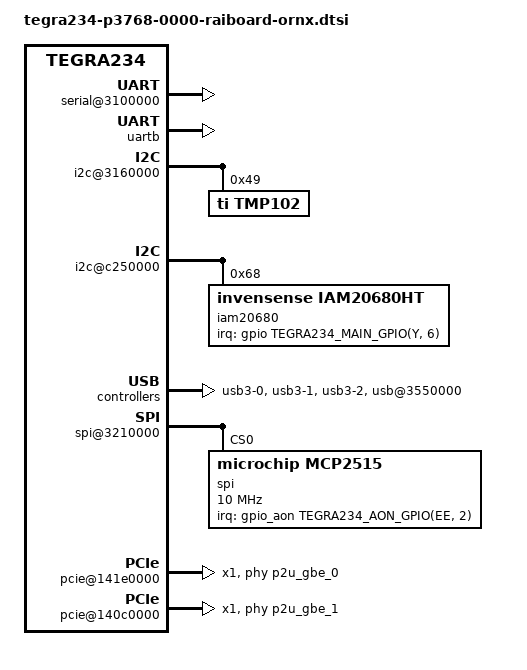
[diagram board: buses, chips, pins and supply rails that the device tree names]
// SPDX-License-Identifier: GPL-2.0-only
// SPDX-FileCopyrightText: Copyright (c) 2023-2024, NVIDIA CORPORATION & AFFILIATES.  All rights reserved.

#define CAMERA_I2C_MUX_BUS(x) (0x1E + x)

/ {
	aliases {
		serial3 = &uartb;
	};

	bus@0 {
		serial@3100000 { // UART1 (uarta) Channel-1
			status = "okay";
		};

		uartb: serial@3110000 { // UART0 (uartb) Channel-0
			status = "okay";
			compatible = "nvidia,tegra194-hsuart";
			reset-names = "serial";
		};

		i2c@3160000 {
			tmp102: tmp102@49 { // Temperature Sensor
				status = "okay";
				compatible = "ti,tmp102";
				reg = <0x49>;
				#thermal-sensor-cells = <0>;
			};
		};

		i2c@c250000 {
			iam20680@68 {
				compatible = "invensense,iam20680ht";
				reg = <0x68>;
				interrupt-parent = <&gpio>;
				interrupts = <TEGRA234_MAIN_GPIO(Y, 6) IRQ_TYPE_LEVEL_LOW>; //Unused pin
			};
		};

		padctl@3520000 {
			ports {
				usb3-0 {
					nvidia,usb2-companion = <1>;
					status = "okay";
				};
				usb3-1 {
					nvidia,usb2-companion = <0>;
					status = "okay";
				};
				usb3-2 {
					//nvidia,usb2-companion = <2>;
					nvidia,usb2-companion = <1>;
					status = "okay";
				};
			};
		};
		usb@3550000 {
			status = "okay";
			phys = <&{/bus@0/padctl@3520000/pads/usb2/lanes/usb2-0}>,
			       <&{/bus@0/padctl@3520000/pads/usb3/lanes/usb3-1}>;
			phy-names = "usb2-0", "usb3-1";
		};

		clocks {
			can_clock: can_clock {
				compatible = "fixed-clock";
				#clock-cells = <0>;
				clock-frequency = <20000000>;
				clock-accuracy = <100>;
			};
		};
		spi@3210000{ // SPI0 with CS0 for SPI2CAN
			status = "okay";
			nvidia,clock-always-on;
			spi@0 {
				status = "okay";
				compatible = "microchip,mcp2515";
				reg = <0x0>;
				spi-max-frequency = <10000000>;
				interrupt-parent = <&gpio_aon>;
				interrupts = <TEGRA234_AON_GPIO(EE, 2) IRQ_TYPE_LEVEL_LOW>;
				clocks = <&can_clock>;
				nvidia,enable-hw-based-cs;
			};
			spi@1 {
				status = "disabled";
			};
		};
		spi@3230000{
			status = "disabled";
		};

		pcie@141e0000 { /* C7x1 node */
			status = "okay";
			num-lanes = <1>;
			phys = <&p2u_gbe_0>;
			phy-names = "p2u-0";
		};

		pcie@140c0000 { /* C9x1 node */
			status = "okay";
			num-lanes = <1>;
			phys = <&p2u_gbe_1>;
			phy-names = "p2u-0";
		};
	};
};
